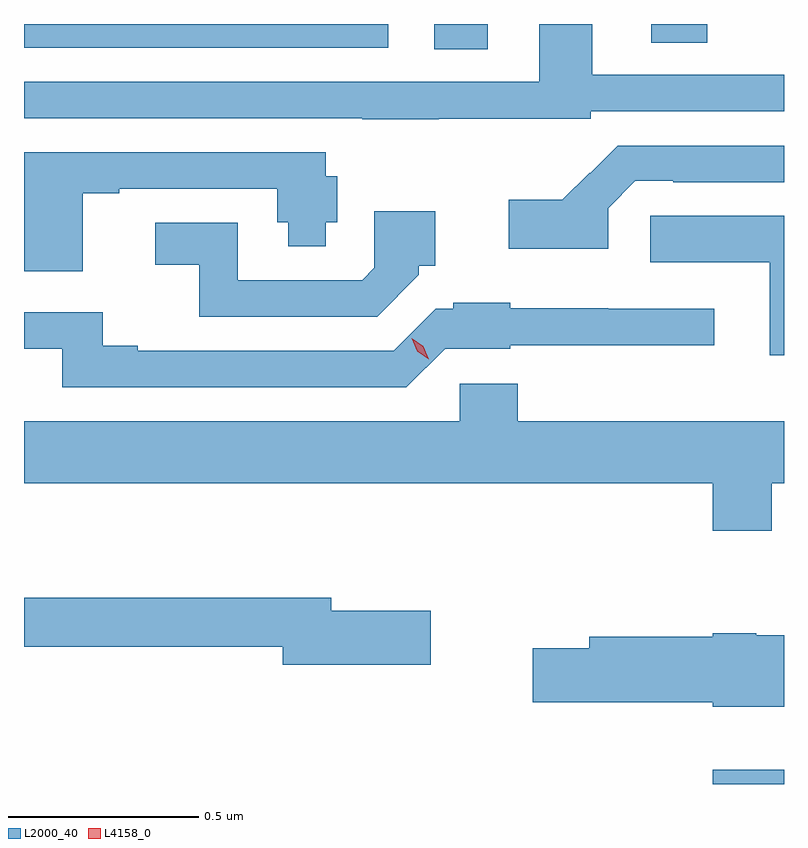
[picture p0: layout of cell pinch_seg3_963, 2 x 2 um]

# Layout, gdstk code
import gdstk
lib = gdstk.Library(unit=1e-6, precision=1e-09)
def R(c, l, rs):  # rectangles x0, y0, x1, y1
    for r in rs: c.add(gdstk.rectangle(r[:2], r[2:], *l))
def P(c, l, *ps):  # polygons
    for p in ps: c.add(gdstk.Polygon(p, *l))
L2000_40 = (2000, 40)
L4158_0 = (4158, 0)

pinch_seg3_963 = lib.new_cell('pinch_seg3_963')
R(pinch_seg3_963, L2000_40, [(599.597,717.441,599.785,717.478), (598.865,719.374,599.005,719.441), (597.785,719.379,598.744,719.441), (599.435,719.392,599.583,719.441)])
P(pinch_seg3_963, L2000_40, [(598.877,719.192),(599.277,719.192),(599.277,719.211),(599.785,719.211),(599.785,719.307),(599.281,719.307),(599.281,719.441),(599.141,719.441),(599.141,719.289),(597.785,719.289),(597.785,719.193),(598.675,719.193),(598.675,719.191),(598.877,719.191)],
  [(599.322,718.956),(599.394,719.028),(599.494,719.028),(599.494,719.025),(599.785,719.025),(599.785,719.121),(599.348,719.121),(599.275,719.048),(599.274,719.05),(599.202,718.978),(599.061,718.978),(599.061,718.85),(599.322,718.85)],
  [(597.94,718.995),(598.036,718.995),(598.036,719.007),(598.451,719.007),(598.451,718.919),(598.481,718.919),(598.481,718.856),(598.579,718.856),(598.579,718.919),(598.609,718.919),(598.609,719.041),(598.579,719.041),(598.579,719.103),(597.785,719.103),(597.785,718.79),(597.94,718.79)],
  [(598.824,718.781),(598.824,718.805),(598.867,718.805),(598.867,718.948),(598.707,718.948),(598.707,718.799),(598.675,718.767),(598.347,718.767),(598.347,718.918),(598.131,718.918),(598.131,718.808),(598.246,718.808),(598.246,718.671),(598.714,718.671)],
  [(599.785,718.936),(599.433,718.936),(599.433,718.814),(599.747,718.814),(599.747,718.569),(599.785,718.569)],
  [(598.893,718.587),(599.064,718.587),(599.064,718.595),(599.602,718.595),(599.602,718.692),(599.322,718.692),(599.322,718.693),(599.064,718.693),(599.064,718.708),(598.914,718.708),(598.914,718.692),(598.869,718.692),(598.758,718.581),(598.084,718.581),(598.084,718.594),(597.992,718.594),(597.992,718.683),(597.785,718.683),(597.785,718.586),(597.886,718.586),(597.886,718.485),(598.791,718.485)],
  [(599.753,718.232),(599.785,718.232),(599.785,718.396),(599.084,718.396),(599.084,718.494),(598.932,718.494),(598.932,718.396),(597.785,718.396),(597.785,718.232),(599.597,718.232),(599.597,718.108),(599.753,718.108)],
  [(598.855,717.897),(598.594,717.897),(598.594,717.931),(597.785,717.931),(597.785,717.802),(598.466,717.802),(598.466,717.755),(598.855,717.755)],
  [(599.785,717.832),(599.712,717.832),(599.712,717.838),(599.598,717.838),(599.598,717.828),(599.273,717.828),(599.273,717.798),(599.124,717.798),(599.124,717.656),(599.598,717.656),(599.598,717.644),(599.785,717.644)])
P(pinch_seg3_963, L4158_0, [(598.85,718.559),(598.82,718.58),(598.805,718.614),(598.805,718.614),(598.805,718.614),(598.835,718.593),(598.85,718.559),(598.85,718.559)])

lib.write_gds('pinch_seg3_963.gds')
